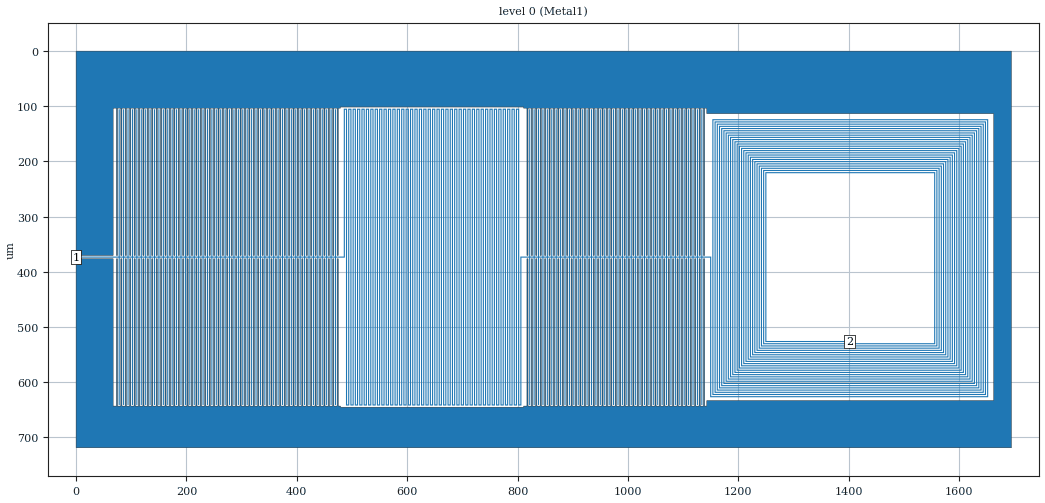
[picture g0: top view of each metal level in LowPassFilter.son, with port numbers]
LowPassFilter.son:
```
FTYP SONPROJ 19 ! Sonnet Project File
VER 18.52
HEADER
LIC aalto2.1.83234
DAT 08/23/2024 13:30:18
BUILT_BY_CREATED dxf 18.52 08/18/2024 08:11:33
BUILT_BY_SAVED sonnet 18.52
MDATE 08/23/2024 13:30:18
HDATE 08/23/2024 13:30:18
ANN Created by dxfgeo, Sonnet Software Inc.
END HEADER
DIM
ANG DEG
CAP PF
CON /OH
FREQ GHZ
IND NH
LNG UM
RES OH
END DIM
CONTROL
VARSWP
OPTIONS  -d
SPEED 1
CACHE_ABS 2
Q_ACC N
END CONTROL
GEO
TMET "Lossless" 0 SUP 0 0 0 0
BMET "Lossless" 0 SUP 0 0 0 0
BOX 1 1695 719 3390 1438 20 0
      1000 1 1 0 0 0 0 "Vacuum Block"
      525 11.9 1 0.0001 0 0 0 "Silicon Substrate"
TECHLAY METAL Metal1 <UNSPECIFIED> -2 -65534 
0 0 -1 N 274 1 1 100 100 0 0 0 Y
END
END
LORGN 0 719 U 
POR1 BOX
POLY 265 1
890
1 50 0 0 0 0 373.337348 
POR1 CUP Auto
GNDREF AUTO
TERMW FEED
POLY 265 1
263
2 50 0 0 0 1402.1 526.3 
CUPGRP "Auto" LOCAL
ID 288
END
NUM 2
0 763 -1 N 243 1 1 100 100 0 0 0 Y
TLAYNAM Metal1 INH
1695.1 0
0 0
0 370.3372453
3.709985 370.3
67.1 370.3
67.1 103.3
73.1 103.3
73.1 370.3
75.1 370.3
75.1 103.3
81.1 103.3
81.1 370.3
83.1 370.3
83.1 103.3
89.1 103.3
89.1 370.3
91.1 370.3
91.1 103.3
97.1 103.3
97.1 370.3
99.1 370.3
99.1 103.3
105.1 103.3
105.1 370.3
107.1 370.3
107.1 103.3
113.1 103.3
113.1 370.3
115.1 370.3
115.1 103.3
121.1 103.3
121.1 370.3
123.1 370.3
123.1 103.3
129.1 103.3
129.1 370.3
131.1 370.3
131.1 103.3
137.1 103.3
137.1 370.3
139.1 370.3
139.1 103.3
145.1 103.3
145.1 370.3
147.1 370.3
147.1 103.3
153.1 103.3
153.1 370.3
155.1 370.3
155.1 103.3
161.1 103.3
161.1 370.3
163.1 370.3
163.1 103.3
169.1 103.3
169.1 370.3
171.1 370.3
171.1 103.3
177.1 103.3
177.1 370.3
179.1 370.3
179.1 103.3
185.1 103.3
185.1 370.3
187.1 370.3
187.1 103.3
193.1 103.3
193.1 370.3
195.1 370.3
195.1 103.3
201.1 103.3
201.1 370.3
203.1 370.3
203.1 103.3
209.1 103.3
209.1 370.3
211.1 370.3
211.1 103.3
217.1 103.3
217.1 370.3
219.1 370.3
219.1 103.3
225.1 103.3
225.1 370.3
227.1 370.3
227.1 103.3
233.1 103.3
233.1 370.3
235.1 370.3
235.1 103.3
241.1 103.3
241.1 370.3
243.1 370.3
243.1 103.3
249.1 103.3
249.1 370.3
251.1 370.3
251.1 103.3
257.1 103.3
257.1 370.3
259.1 370.3
259.1 103.3
265.1 103.3
265.1 370.3
267.1 370.3
267.1 103.3
273.1 103.3
273.1 370.3
275.1 370.3
275.1 103.3
281.1 103.3
281.1 370.3
283.1 370.3
283.1 103.3
289.1 103.3
289.1 370.3
291.1 370.3
291.1 103.3
297.1 103.3
297.1 370.3
299.1 370.3
299.1 103.3
305.1 103.3
305.1 370.3
307.1 370.3
307.1 103.3
313.1 103.3
313.1 370.3
315.1 370.3
315.1 103.3
321.1 103.3
321.1 370.3
323.1 370.3
323.1 103.3
329.1 103.3
329.1 370.3
331.1 370.3
331.1 103.3
337.1 103.3
337.1 370.3
339.1 370.3
339.1 103.3
345.1 103.3
345.1 370.3
347.1 370.3
347.1 103.3
353.1 103.3
353.1 370.3
355.1 370.3
355.1 103.3
361.1 103.3
361.1 370.3
363.1 370.3
363.1 103.3
369.1 103.3
369.1 370.3
371.1 370.3
371.1 103.3
377.1 103.3
377.1 370.3
379.1 370.3
379.1 103.3
385.1 103.3
385.1 370.3
387.1 370.3
387.1 103.3
393.1 103.3
393.1 370.3
395.1 370.3
395.1 103.3
401.1 103.3
401.1 370.3
403.1 370.3
403.1 103.3
409.1 103.3
409.1 370.3
411.1 370.3
411.1 103.3
417.1 103.3
417.1 370.3
419.1 370.3
419.1 103.3
425.1 103.3
425.1 370.3
427.1 370.3
427.1 103.3
433.1 103.3
433.1 370.3
435.1 370.3
435.1 103.3
441.1 103.3
441.1 370.3
443.1 370.3
443.1 103.3
449.1 103.3
449.1 370.3
451.1 370.3
451.1 103.3
457.1 103.3
457.1 370.3
459.1 370.3
459.1 103.3
465.1 103.3
465.1 370.3
467.1 370.3
467.1 103.3
473.1 103.3
473.1 370.3
475.1 370.3
475.1 103.3
479.1 103.3
479.1 101.3
811.1 101.3
811.1 103.3
817.1 103.3
817.1 370.3
819.1 370.3
819.1 103.3
825.1 103.3
825.1 370.3
827.1 370.3
827.1 103.3
833.1 103.3
833.1 370.3
835.1 370.3
835.1 103.3
841.1 103.3
841.1 370.3
843.1 370.3
843.1 103.3
849.1 103.3
849.1 370.3
851.1 370.3
851.1 103.3
857.1 103.3
857.1 370.3
859.1 370.3
859.1 103.3
865.1 103.3
865.1 370.3
867.1 370.3
867.1 103.3
873.1 103.3
873.1 370.3
875.1 370.3
875.1 103.3
881.1 103.3
881.1 370.3
883.1 370.3
883.1 103.3
889.1 103.3
889.1 370.3
891.1 370.3
891.1 103.3
897.1 103.3
897.1 370.3
899.1 370.3
899.1 103.3
905.1 103.3
905.1 370.3
907.1 370.3
907.1 103.3
913.1 103.3
913.1 370.3
915.1 370.3
915.1 103.3
921.1 103.3
921.1 370.3
923.1 370.3
923.1 103.3
929.1 103.3
929.1 370.3
931.1 370.3
931.1 103.3
937.1 103.3
937.1 370.3
939.1 370.3
939.1 103.3
945.1 103.3
945.1 370.3
947.1 370.3
947.1 103.3
953.1 103.3
953.1 370.3
955.1 370.3
955.1 103.3
961.1 103.3
961.1 370.3
963.1 370.3
963.1 103.3
969.1 103.3
969.1 370.3
971.1 370.3
971.1 103.3
977.1 103.3
977.1 370.3
979.1 370.3
979.1 103.3
985.1 103.3
985.1 370.3
987.1 370.3
987.1 103.3
993.1 103.3
993.1 370.3
995.1 370.3
995.1 103.3
1001.1 103.3
1001.1 370.3
1003.1 370.3
1003.1 103.3
1009.1 103.3
1009.1 370.3
1011.1 370.3
1011.1 103.3
1017.1 103.3
1017.1 370.3
1019.1 370.3
1019.1 103.3
1025.1 103.3
1025.1 370.3
1027.1 370.3
1027.1 103.3
1033.1 103.3
1033.1 370.3
1035.1 370.3
1035.1 103.3
1041.1 103.3
1041.1 370.3
1043.1 370.3
1043.1 103.3
1049.1 103.3
1049.1 370.3
1051.1 370.3
1051.1 103.3
1057.1 103.3
1057.1 370.3
1059.1 370.3
1059.1 103.3
1065.1 103.3
1065.1 370.3
1067.1 370.3
1067.1 103.3
1073.1 103.3
1073.1 370.3
1075.1 370.3
1075.1 103.3
1081.1 103.3
1081.1 370.3
1083.1 370.3
1083.1 103.3
1089.1 103.3
1089.1 370.3
1091.1 370.3
1091.1 103.3
1097.1 103.3
1097.1 370.3
1099.1 370.3
1099.1 103.3
1105.1 103.3
1105.1 370.3
1107.1 370.3
1107.1 103.3
1113.1 103.3
1113.1 370.3
1115.1 370.3
1115.1 103.3
1121.1 103.3
1121.1 370.3
1123.1 370.3
1123.1 103.3
1129.1 103.3
1129.1 370.3
1131.1 370.3
1131.1 103.3
1137.1 103.3
1137.1 370.3
1139.1 370.3
1139.1 103.3
1143.1 103.3
1143.1 113.3
1663.1 113.3
1663.1 633.3
1143.1 633.3
1143.1 643.3
1139.1 643.3
1139.1 376.3
1137.1 376.3
1137.1 643.3
1131.1 643.3
1131.1 376.3
1129.1 376.3
1129.1 643.3
1123.1 643.3
1123.1 376.3
1121.1 376.3
1121.1 643.3
1115.1 643.3
1115.1 376.3
1113.1 376.3
1113.1 643.3
1107.1 643.3
1107.1 376.3
1105.1 376.3
1105.1 643.3
1099.1 643.3
1099.1 376.3
1097.1 376.3
1097.1 643.3
1091.1 643.3
1091.1 376.3
1089.1 376.3
1089.1 643.3
1083.1 643.3
1083.1 376.3
1081.1 376.3
1081.1 643.3
1075.1 643.3
1075.1 376.3
1073.1 376.3
1073.1 643.3
1067.1 643.3
1067.1 376.3
1065.1 376.3
1065.1 643.3
1059.1 643.3
1059.1 376.3
1057.1 376.3
1057.1 643.3
1051.1 643.3
1051.1 376.3
1049.1 376.3
1049.1 643.3
1043.1 643.3
1043.1 376.3
1041.1 376.3
1041.1 643.3
1035.1 643.3
1035.1 376.3
1033.1 376.3
1033.1 643.3
1027.1 643.3
1027.1 376.3
1025.1 376.3
1025.1 643.3
1019.1 643.3
1019.1 376.3
1017.1 376.3
1017.1 643.3
1011.1 643.3
1011.1 376.3
1009.1 376.3
1009.1 643.3
1003.1 643.3
1003.1 376.3
1001.1 376.3
1001.1 643.3
995.1 643.3
995.1 376.3
993.1 376.3
993.1 643.3
987.1 643.3
987.1 376.3
985.1 376.3
985.1 643.3
979.1 643.3
979.1 376.3
977.1 376.3
977.1 643.3
971.1 643.3
971.1 376.3
969.1 376.3
969.1 643.3
963.1 643.3
963.1 376.3
961.1 376.3
961.1 643.3
955.1 643.3
955.1 376.3
953.1 376.3
953.1 643.3
947.1 643.3
947.1 376.3
945.1 376.3
945.1 643.3
939.1 643.3
939.1 376.3
937.1 376.3
937.1 643.3
931.1 643.3
931.1 376.3
929.1 376.3
929.1 643.3
923.1 643.3
923.1 376.3
921.1 376.3
921.1 643.3
915.1 643.3
915.1 376.3
913.1 376.3
913.1 643.3
907.1 643.3
907.1 376.3
905.1 376.3
905.1 643.3
899.1 643.3
899.1 376.3
897.1 376.3
897.1 643.3
891.1 643.3
891.1 376.3
889.1 376.3
889.1 643.3
883.1 643.3
883.1 376.3
881.1 376.3
881.1 643.3
875.1 643.3
875.1 376.3
873.1 376.3
873.1 643.3
867.1 643.3
867.1 376.3
865.1 376.3
865.1 643.3
859.1 643.3
859.1 376.3
857.1 376.3
857.1 643.3
851.1 643.3
851.1 376.3
849.1 376.3
849.1 643.3
843.1 643.3
843.1 376.3
841.1 376.3
841.1 643.3
835.1 643.3
835.1 376.3
833.1 376.3
833.1 643.3
827.1 643.3
827.1 376.3
825.1 376.3
825.1 643.3
819.1 643.3
819.1 376.3
817.1 376.3
817.1 643.3
811.1 643.3
811.1 645.3
479.1 645.3
479.1 643.3
475.1 643.3
475.1 376.3
473.1 376.3
473.1 643.3
467.1 643.3
467.1 376.3
465.1 376.3
465.1 643.3
459.1 643.3
459.1 376.3
457.1 376.3
457.1 643.3
451.1 643.3
451.1 376.3
449.1 376.3
449.1 643.3
443.1 643.3
443.1 376.3
441.1 376.3
441.1 643.3
435.1 643.3
435.1 376.3
433.1 376.3
433.1 643.3
427.1 643.3
427.1 376.3
425.1 376.3
425.1 643.3
419.1 643.3
419.1 376.3
417.1 376.3
417.1 643.3
411.1 643.3
411.1 376.3
409.1 376.3
409.1 643.3
403.1 643.3
403.1 376.3
401.1 376.3
401.1 643.3
395.1 643.3
395.1 376.3
393.1 376.3
393.1 643.3
387.1 643.3
387.1 376.3
385.1 376.3
385.1 643.3
379.1 643.3
379.1 376.3
377.1 376.3
377.1 643.3
371.1 643.3
371.1 376.3
369.1 376.3
369.1 643.3
363.1 643.3
363.1 376.3
361.1 376.3
361.1 643.3
355.1 643.3
355.1 376.3
353.1 376.3
353.1 643.3
347.1 643.3
347.1 376.3
345.1 376.3
345.1 643.3
339.1 643.3
339.1 376.3
337.1 376.3
337.1 643.3
331.1 643.3
331.1 376.3
329.1 376.3
329.1 643.3
323.1 643.3
323.1 376.3
321.1 376.3
321.1 643.3
315.1 643.3
315.1 376.3
313.1 376.3
313.1 643.3
307.1 643.3
307.1 376.3
305.1 376.3
305.1 643.3
299.1 643.3
299.1 376.3
297.1 376.3
297.1 643.3
291.1 643.3
291.1 376.3
289.1 376.3
289.1 643.3
283.1 643.3
283.1 376.3
281.1 376.3
281.1 643.3
275.1 643.3
275.1 376.3
273.1 376.3
273.1 643.3
267.1 643.3
267.1 376.3
265.1 376.3
265.1 643.3
259.1 643.3
259.1 376.3
257.1 376.3
257.1 643.3
251.1 643.3
251.1 376.3
249.1 376.3
249.1 643.3
243.1 643.3
243.1 376.3
241.1 376.3
241.1 643.3
235.1 643.3
235.1 376.3
233.1 376.3
233.1 643.3
227.1 643.3
227.1 376.3
225.1 376.3
225.1 643.3
219.1 643.3
219.1 376.3
217.1 376.3
217.1 643.3
211.1 643.3
211.1 376.3
209.1 376.3
209.1 643.3
203.1 643.3
203.1 376.3
201.1 376.3
201.1 643.3
195.1 643.3
195.1 376.3
193.1 376.3
193.1 643.3
187.1 643.3
187.1 376.3
185.1 376.3
185.1 643.3
179.1 643.3
179.1 376.3
177.1 376.3
177.1 643.3
171.1 643.3
171.1 376.3
169.1 376.3
169.1 643.3
163.1 643.3
163.1 376.3
161.1 376.3
161.1 643.3
155.1 643.3
155.1 376.3
153.1 376.3
153.1 643.3
147.1 643.3
147.1 376.3
145.1 376.3
145.1 643.3
139.1 643.3
139.1 376.3
137.1 376.3
137.1 643.3
131.1 643.3
131.1 376.3
129.1 376.3
129.1 643.3
123.1 643.3
123.1 376.3
121.1 376.3
121.1 643.3
115.1 643.3
115.1 376.3
113.1 376.3
113.1 643.3
107.1 643.3
107.1 376.3
105.1 376.3
105.1 643.3
99.1 643.3
99.1 376.3
97.1 376.3
97.1 643.3
91.1 643.3
91.1 376.3
89.1 376.3
89.1 643.3
83.1 643.3
83.1 376.3
81.1 376.3
81.1 643.3
75.1 643.3
75.1 376.3
73.1 376.3
73.1 643.3
67.1 643.3
67.1 376.3
3.709985 376.3
0 376.3374473
0 718.9
1695.1 718.9
1695.1 0
END
0 1255 -1 N 265 1 1 100 100 0 0 0 Y
TLAYNAM Metal1 INH
807.1 374.3
821.1 374.3
821.1 641.3
823.1 641.3
823.1 374.3
829.1 374.3
829.1 641.3
831.1 641.3
831.1 374.3
837.1 374.3
837.1 641.3
839.1 641.3
839.1 374.3
845.1 374.3
845.1 641.3
847.1 641.3
847.1 374.3
853.1 374.3
853.1 641.3
855.1 641.3
855.1 374.3
861.1 374.3
861.1 641.3
863.1 641.3
863.1 374.3
869.1 374.3
869.1 641.3
871.1 641.3
871.1 374.3
877.1 374.3
877.1 641.3
879.1 641.3
879.1 374.3
885.1 374.3
885.1 641.3
887.1 641.3
887.1 374.3
893.1 374.3
893.1 641.3
895.1 641.3
895.1 374.3
901.1 374.3
901.1 641.3
903.1 641.3
903.1 374.3
909.1 374.3
909.1 641.3
911.1 641.3
911.1 374.3
917.1 374.3
917.1 641.3
919.1 641.3
919.1 374.3
925.1 374.3
925.1 641.3
927.1 641.3
927.1 374.3
933.1 374.3
933.1 641.3
935.1 641.3
935.1 374.3
941.1 374.3
941.1 641.3
943.1 641.3
943.1 374.3
949.1 374.3
949.1 641.3
951.1 641.3
951.1 374.3
957.1 374.3
957.1 641.3
959.1 641.3
959.1 374.3
965.1 374.3
965.1 641.3
967.1 641.3
967.1 374.3
973.1 374.3
973.1 641.3
975.1 641.3
975.1 374.3
981.1 374.3
981.1 641.3
983.1 641.3
983.1 374.3
989.1 374.3
989.1 641.3
991.1 641.3
991.1 374.3
997.1 374.3
997.1 641.3
999.1 641.3
999.1 374.3
1005.1 374.3
1005.1 641.3
1007.1 641.3
1007.1 374.3
1013.1 374.3
1013.1 641.3
1015.1 641.3
1015.1 374.3
1021.1 374.3
1021.1 641.3
1023.1 641.3
1023.1 374.3
1029.1 374.3
1029.1 641.3
1031.1 641.3
1031.1 374.3
1037.1 374.3
1037.1 641.3
1039.1 641.3
1039.1 374.3
1045.1 374.3
1045.1 641.3
1047.1 641.3
1047.1 374.3
1053.1 374.3
1053.1 641.3
1055.1 641.3
1055.1 374.3
1061.1 374.3
1061.1 641.3
1063.1 641.3
1063.1 374.3
1069.1 374.3
1069.1 641.3
1071.1 641.3
1071.1 374.3
1077.1 374.3
1077.1 641.3
1079.1 641.3
1079.1 374.3
1085.1 374.3
1085.1 641.3
1087.1 641.3
1087.1 374.3
1093.1 374.3
1093.1 641.3
1095.1 641.3
1095.1 374.3
1101.1 374.3
1101.1 641.3
1103.1 641.3
1103.1 374.3
1109.1 374.3
1109.1 641.3
1111.1 641.3
1111.1 374.3
1117.1 374.3
1117.1 641.3
1119.1 641.3
1119.1 374.3
1125.1 374.3
1125.1 641.3
1127.1 641.3
1127.1 374.3
1133.1 374.3
1133.1 641.3
1135.1 641.3
1135.1 374.3
1149.1 374.3
1149.1 627.3
1653.1 627.3
1653.1 123.3
1153.1 123.3
1153.1 623.3
1649.1 623.3
1649.1 127.3
1157.1 127.3
1157.1 619.3
1645.1 619.3
1645.1 131.3
1161.1 131.3
1161.1 615.3
1641.1 615.3
1641.1 135.3
1165.1 135.3
1165.1 611.3
1637.1 611.3
1637.1 139.3
1169.1 139.3
1169.1 607.3
1633.1 607.3
1633.1 143.3
1173.1 143.3
1173.1 603.3
1629.1 603.3
1629.1 147.3
1177.1 147.3
1177.1 599.3
1625.1 599.3
1625.1 151.3
1181.1 151.3
1181.1 595.3
1621.1 595.3
1621.1 155.3
1185.1 155.3
1185.1 591.3
1617.1 591.3
1617.1 159.3
1189.1 159.3
1189.1 587.3
1613.1 587.3
1613.1 163.3
1193.1 163.3
1193.1 583.3
1609.1 583.3
1609.1 167.3
1197.1 167.3
1197.1 579.3
1605.1 579.3
1605.1 171.3
1201.1 171.3
1201.1 575.3
1601.1 575.3
1601.1 175.3
1205.1 175.3
1205.1 571.3
1597.1 571.3
1597.1 179.3
1209.1 179.3
1209.1 567.3
1593.1 567.3
1593.1 183.3
1213.1 183.3
1213.1 563.3
1589.1 563.3
1589.1 187.3
1217.1 187.3
1217.1 559.3
1585.1 559.3
1585.1 191.3
1221.1 191.3
1221.1 555.3
1581.1 555.3
1581.1 195.3
1225.1 195.3
1225.1 551.3
1577.1 551.3
1577.1 199.3
1229.1 199.3
1229.1 547.3
1573.1 547.3
1573.1 203.3
1233.1 203.3
1233.1 543.3
1569.1 543.3
1569.1 207.3
1237.1 207.3
1237.1 539.3
1565.1 539.3
1565.1 211.3
1241.1 211.3
1241.1 535.3
1561.1 535.3
1561.1 215.3
1245.1 215.3
1245.1 531.3
1557.1 531.3
1557.1 219.3
1249.1 219.3
1249.1 527.3
1402.1 527.3
1402.1 525.3
1251.1 525.3
1251.1 221.3
1555.1 221.3
1555.1 529.3
1247.1 529.3
1247.1 217.3
1559.1 217.3
1559.1 533.3
1243.1 533.3
1243.1 213.3
1563.1 213.3
1563.1 537.3
1239.1 537.3
1239.1 209.3
1567.1 209.3
1567.1 541.3
1235.1 541.3
1235.1 205.3
1571.1 205.3
1571.1 545.3
1231.1 545.3
1231.1 201.3
1575.1 201.3
1575.1 549.3
1227.1 549.3
1227.1 197.3
1579.1 197.3
1579.1 553.3
1223.1 553.3
1223.1 193.3
1583.1 193.3
1583.1 557.3
1219.1 557.3
1219.1 189.3
1587.1 189.3
1587.1 561.3
1215.1 561.3
1215.1 185.3
1591.1 185.3
1591.1 565.3
1211.1 565.3
1211.1 181.3
1595.1 181.3
1595.1 569.3
1207.1 569.3
1207.1 177.3
1599.1 177.3
1599.1 573.3
1203.1 573.3
1203.1 173.3
1603.1 173.3
1603.1 577.3
1199.1 577.3
1199.1 169.3
1607.1 169.3
1607.1 581.3
1195.1 581.3
1195.1 165.3
1611.1 165.3
1611.1 585.3
1191.1 585.3
1191.1 161.3
1615.1 161.3
1615.1 589.3
1187.1 589.3
1187.1 157.3
1619.1 157.3
1619.1 593.3
1183.1 593.3
1183.1 153.3
1623.1 153.3
1623.1 597.3
1179.1 597.3
1179.1 149.3
1627.1 149.3
1627.1 601.3
1175.1 601.3
1175.1 145.3
1631.1 145.3
1631.1 605.3
1171.1 605.3
1171.1 141.3
1635.1 141.3
1635.1 609.3
1167.1 609.3
1167.1 137.3
1639.1 137.3
1639.1 613.3
1163.1 613.3
1163.1 133.3
1643.1 133.3
1643.1 617.3
1159.1 617.3
1159.1 129.3
1647.1 129.3
1647.1 621.3
1155.1 621.3
1155.1 125.3
1651.1 125.3
1651.1 625.3
1151.1 625.3
1151.1 372.3
1135.1 372.3
1135.1 105.3
1133.1 105.3
1133.1 372.3
1127.1 372.3
1127.1 105.3
1125.1 105.3
1125.1 372.3
1119.1 372.3
1119.1 105.3
1117.1 105.3
1117.1 372.3
1111.1 372.3
1111.1 105.3
1109.1 105.3
1109.1 372.3
1103.1 372.3
1103.1 105.3
1101.1 105.3
1101.1 372.3
1095.1 372.3
1095.1 105.3
1093.1 105.3
1093.1 372.3
1087.1 372.3
1087.1 105.3
1085.1 105.3
1085.1 372.3
1079.1 372.3
1079.1 105.3
1077.1 105.3
1077.1 372.3
1071.1 372.3
1071.1 105.3
1069.1 105.3
1069.1 372.3
1063.1 372.3
1063.1 105.3
1061.1 105.3
1061.1 372.3
1055.1 372.3
1055.1 105.3
1053.1 105.3
1053.1 372.3
1047.1 372.3
1047.1 105.3
1045.1 105.3
1045.1 372.3
1039.1 372.3
1039.1 105.3
1037.1 105.3
1037.1 372.3
1031.1 372.3
1031.1 105.3
1029.1 105.3
1029.1 372.3
1023.1 372.3
1023.1 105.3
1021.1 105.3
1021.1 372.3
1015.1 372.3
1015.1 105.3
1013.1 105.3
1013.1 372.3
1007.1 372.3
1007.1 105.3
1005.1 105.3
1005.1 372.3
999.1 372.3
999.1 105.3
997.1 105.3
997.1 372.3
991.1 372.3
991.1 105.3
989.1 105.3
989.1 372.3
983.1 372.3
983.1 105.3
981.1 105.3
981.1 372.3
975.1 372.3
975.1 105.3
973.1 105.3
973.1 372.3
967.1 372.3
967.1 105.3
965.1 105.3
965.1 372.3
959.1 372.3
959.1 105.3
957.1 105.3
957.1 372.3
951.1 372.3
951.1 105.3
949.1 105.3
949.1 372.3
943.1 372.3
943.1 105.3
941.1 105.3
941.1 372.3
935.1 372.3
935.1 105.3
933.1 105.3
933.1 372.3
927.1 372.3
927.1 105.3
925.1 105.3
925.1 372.3
919.1 372.3
919.1 105.3
917.1 105.3
917.1 372.3
911.1 372.3
911.1 105.3
909.1 105.3
909.1 372.3
903.1 372.3
903.1 105.3
901.1 105.3
901.1 372.3
895.1 372.3
895.1 105.3
893.1 105.3
893.1 372.3
887.1 372.3
887.1 105.3
885.1 105.3
885.1 372.3
879.1 372.3
879.1 105.3
877.1 105.3
877.1 372.3
871.1 372.3
871.1 105.3
869.1 105.3
869.1 372.3
863.1 372.3
863.1 105.3
861.1 105.3
861.1 372.3
855.1 372.3
855.1 105.3
853.1 105.3
853.1 372.3
847.1 372.3
847.1 105.3
845.1 105.3
845.1 372.3
839.1 372.3
839.1 105.3
837.1 105.3
837.1 372.3
831.1 372.3
831.1 105.3
829.1 105.3
829.1 372.3
823.1 372.3
823.1 105.3
821.1 105.3
821.1 372.3
805.1 372.3
805.1 640.3
803.1 640.3
803.1 104.3
797.1 104.3
797.1 640.3
795.1 640.3
795.1 104.3
789.1 104.3
789.1 640.3
787.1 640.3
787.1 104.3
781.1 104.3
781.1 640.3
779.1 640.3
779.1 104.3
773.1 104.3
773.1 640.3
771.1 640.3
771.1 104.3
765.1 104.3
765.1 640.3
763.1 640.3
763.1 104.3
757.1 104.3
757.1 640.3
755.1 640.3
755.1 104.3
749.1 104.3
749.1 640.3
747.1 640.3
747.1 104.3
741.1 104.3
741.1 640.3
739.1 640.3
739.1 104.3
733.1 104.3
733.1 640.3
731.1 640.3
731.1 104.3
725.1 104.3
725.1 640.3
723.1 640.3
723.1 104.3
717.1 104.3
717.1 640.3
715.1 640.3
715.1 104.3
709.1 104.3
709.1 640.3
707.1 640.3
707.1 104.3
701.1 104.3
701.1 640.3
699.1 640.3
699.1 104.3
693.1 104.3
693.1 640.3
691.1 640.3
691.1 104.3
685.1 104.3
685.1 640.3
683.1 640.3
683.1 104.3
677.1 104.3
677.1 640.3
675.1 640.3
675.1 104.3
669.1 104.3
669.1 640.3
667.1 640.3
667.1 104.3
661.1 104.3
661.1 640.3
659.1 640.3
659.1 104.3
653.1 104.3
653.1 640.3
651.1 640.3
651.1 104.3
645.1 104.3
645.1 640.3
643.1 640.3
643.1 104.3
637.1 104.3
637.1 640.3
635.1 640.3
635.1 104.3
629.1 104.3
629.1 640.3
627.1 640.3
627.1 104.3
621.1 104.3
621.1 640.3
619.1 640.3
619.1 104.3
613.1 104.3
613.1 640.3
611.1 640.3
611.1 104.3
605.1 104.3
605.1 640.3
603.1 640.3
603.1 104.3
597.1 104.3
597.1 640.3
595.1 640.3
595.1 104.3
589.1 104.3
589.1 640.3
587.1 640.3
587.1 104.3
581.1 104.3
581.1 640.3
579.1 640.3
579.1 104.3
573.1 104.3
573.1 640.3
571.1 640.3
571.1 104.3
565.1 104.3
565.1 640.3
563.1 640.3
563.1 104.3
557.1 104.3
557.1 640.3
555.1 640.3
555.1 104.3
549.1 104.3
549.1 640.3
547.1 640.3
547.1 104.3
541.1 104.3
541.1 640.3
539.1 640.3
539.1 104.3
533.1 104.3
533.1 640.3
531.1 640.3
531.1 104.3
525.1 104.3
525.1 640.3
523.1 640.3
523.1 104.3
517.1 104.3
517.1 640.3
515.1 640.3
515.1 104.3
509.1 104.3
509.1 640.3
507.1 640.3
507.1 104.3
501.1 104.3
501.1 640.3
499.1 640.3
499.1 104.3
493.1 104.3
493.1 640.3
491.1 640.3
491.1 104.3
485.1 104.3
485.1 372.3
471.1 372.3
471.1 105.3
469.1 105.3
469.1 372.3
463.1 372.3
463.1 105.3
461.1 105.3
461.1 372.3
455.1 372.3
455.1 105.3
453.1 105.3
453.1 372.3
447.1 372.3
447.1 105.3
445.1 105.3
445.1 372.3
439.1 372.3
439.1 105.3
437.1 105.3
437.1 372.3
431.1 372.3
431.1 105.3
429.1 105.3
429.1 372.3
423.1 372.3
423.1 105.3
421.1 105.3
421.1 372.3
415.1 372.3
415.1 105.3
413.1 105.3
413.1 372.3
407.1 372.3
407.1 105.3
405.1 105.3
405.1 372.3
399.1 372.3
399.1 105.3
397.1 105.3
397.1 372.3
391.1 372.3
391.1 105.3
389.1 105.3
389.1 372.3
383.1 372.3
383.1 105.3
381.1 105.3
381.1 372.3
375.1 372.3
375.1 105.3
373.1 105.3
373.1 372.3
367.1 372.3
367.1 105.3
365.1 105.3
365.1 372.3
359.1 372.3
359.1 105.3
357.1 105.3
357.1 372.3
351.1 372.3
351.1 105.3
349.1 105.3
349.1 372.3
343.1 372.3
343.1 105.3
341.1 105.3
341.1 372.3
335.1 372.3
335.1 105.3
333.1 105.3
333.1 372.3
327.1 372.3
327.1 105.3
325.1 105.3
325.1 372.3
319.1 372.3
319.1 105.3
317.1 105.3
317.1 372.3
311.1 372.3
311.1 105.3
309.1 105.3
309.1 372.3
303.1 372.3
303.1 105.3
301.1 105.3
301.1 372.3
295.1 372.3
295.1 105.3
293.1 105.3
293.1 372.3
287.1 372.3
287.1 105.3
285.1 105.3
285.1 372.3
279.1 372.3
279.1 105.3
277.1 105.3
277.1 372.3
271.1 372.3
271.1 105.3
269.1 105.3
269.1 372.3
263.1 372.3
263.1 105.3
261.1 105.3
261.1 372.3
255.1 372.3
255.1 105.3
253.1 105.3
253.1 372.3
247.1 372.3
247.1 105.3
245.1 105.3
245.1 372.3
239.1 372.3
239.1 105.3
237.1 105.3
237.1 372.3
231.1 372.3
231.1 105.3
229.1 105.3
229.1 372.3
223.1 372.3
223.1 105.3
221.1 105.3
221.1 372.3
215.1 372.3
215.1 105.3
213.1 105.3
213.1 372.3
207.1 372.3
207.1 105.3
205.1 105.3
205.1 372.3
199.1 372.3
199.1 105.3
197.1 105.3
197.1 372.3
191.1 372.3
191.1 105.3
189.1 105.3
189.1 372.3
183.1 372.3
183.1 105.3
181.1 105.3
181.1 372.3
175.1 372.3
175.1 105.3
173.1 105.3
173.1 372.3
167.1 372.3
167.1 105.3
165.1 105.3
165.1 372.3
159.1 372.3
159.1 105.3
157.1 105.3
157.1 372.3
151.1 372.3
151.1 105.3
149.1 105.3
149.1 372.3
143.1 372.3
143.1 105.3
141.1 105.3
141.1 372.3
135.1 372.3
135.1 105.3
133.1 105.3
133.1 372.3
127.1 372.3
127.1 105.3
125.1 105.3
125.1 372.3
119.1 372.3
119.1 105.3
117.1 105.3
117.1 372.3
111.1 372.3
111.1 105.3
109.1 105.3
109.1 372.3
103.1 372.3
103.1 105.3
101.1 105.3
101.1 372.3
95.1 372.3
95.1 105.3
93.1 105.3
93.1 372.3
87.1 372.3
87.1 105.3
85.1 105.3
85.1 372.3
79.1 372.3
79.1 105.3
77.1 105.3
77.1 372.3
3.709985 372.3
0 372.3376229
0 374.3370731
3.709985 374.3
77.1 374.3
77.1 641.3
79.1 641.3
79.1 374.3
85.1 374.3
85.1 641.3
87.1 641.3
87.1 374.3
93.1 374.3
93.1 641.3
95.1 641.3
95.1 374.3
101.1 374.3
101.1 641.3
103.1 641.3
103.1 374.3
109.1 374.3
109.1 641.3
111.1 641.3
111.1 374.3
117.1 374.3
117.1 641.3
119.1 641.3
119.1 374.3
125.1 374.3
125.1 641.3
127.1 641.3
127.1 374.3
133.1 374.3
133.1 641.3
135.1 641.3
135.1 374.3
141.1 374.3
141.1 641.3
143.1 641.3
143.1 374.3
149.1 374.3
149.1 641.3
151.1 641.3
151.1 374.3
157.1 374.3
157.1 641.3
159.1 641.3
159.1 374.3
165.1 374.3
165.1 641.3
167.1 641.3
167.1 374.3
173.1 374.3
173.1 641.3
175.1 641.3
175.1 374.3
181.1 374.3
181.1 641.3
183.1 641.3
183.1 374.3
189.1 374.3
189.1 641.3
191.1 641.3
191.1 374.3
197.1 374.3
197.1 641.3
199.1 641.3
199.1 374.3
205.1 374.3
205.1 641.3
207.1 641.3
207.1 374.3
213.1 374.3
213.1 641.3
215.1 641.3
215.1 374.3
221.1 374.3
221.1 641.3
223.1 641.3
223.1 374.3
229.1 374.3
229.1 641.3
231.1 641.3
231.1 374.3
237.1 374.3
237.1 641.3
239.1 641.3
239.1 374.3
245.1 374.3
245.1 641.3
247.1 641.3
247.1 374.3
253.1 374.3
253.1 641.3
255.1 641.3
255.1 374.3
261.1 374.3
261.1 641.3
263.1 641.3
263.1 374.3
269.1 374.3
269.1 641.3
271.1 641.3
271.1 374.3
277.1 374.3
277.1 641.3
279.1 641.3
279.1 374.3
285.1 374.3
285.1 641.3
287.1 641.3
287.1 374.3
293.1 374.3
293.1 641.3
295.1 641.3
295.1 374.3
301.1 374.3
301.1 641.3
303.1 641.3
303.1 374.3
309.1 374.3
309.1 641.3
311.1 641.3
311.1 374.3
317.1 374.3
317.1 641.3
319.1 641.3
319.1 374.3
325.1 374.3
325.1 641.3
327.1 641.3
327.1 374.3
333.1 374.3
333.1 641.3
335.1 641.3
335.1 374.3
341.1 374.3
341.1 641.3
343.1 641.3
343.1 374.3
349.1 374.3
349.1 641.3
351.1 641.3
351.1 374.3
357.1 374.3
357.1 641.3
359.1 641.3
359.1 374.3
365.1 374.3
365.1 641.3
367.1 641.3
367.1 374.3
373.1 374.3
373.1 641.3
375.1 641.3
375.1 374.3
381.1 374.3
381.1 641.3
383.1 641.3
383.1 374.3
389.1 374.3
389.1 641.3
391.1 641.3
391.1 374.3
397.1 374.3
397.1 641.3
399.1 641.3
399.1 374.3
405.1 374.3
405.1 641.3
407.1 641.3
407.1 374.3
413.1 374.3
413.1 641.3
415.1 641.3
415.1 374.3
421.1 374.3
421.1 641.3
423.1 641.3
423.1 374.3
429.1 374.3
429.1 641.3
431.1 641.3
431.1 374.3
437.1 374.3
437.1 641.3
439.1 641.3
439.1 374.3
445.1 374.3
445.1 641.3
447.1 641.3
447.1 374.3
453.1 374.3
453.1 641.3
455.1 641.3
455.1 374.3
461.1 374.3
461.1 641.3
463.1 641.3
463.1 374.3
469.1 374.3
469.1 641.3
471.1 641.3
471.1 374.3
487.1 374.3
487.1 106.3
489.1 106.3
489.1 642.3
495.1 642.3
495.1 106.3
497.1 106.3
497.1 642.3
503.1 642.3
503.1 106.3
505.1 106.3
505.1 642.3
511.1 642.3
511.1 106.3
513.1 106.3
513.1 642.3
519.1 642.3
519.1 106.3
521.1 106.3
521.1 642.3
527.1 642.3
527.1 106.3
529.1 106.3
529.1 642.3
535.1 642.3
535.1 106.3
537.1 106.3
537.1 642.3
543.1 642.3
543.1 106.3
545.1 106.3
545.1 642.3
551.1 642.3
551.1 106.3
553.1 106.3
553.1 642.3
559.1 642.3
559.1 106.3
561.1 106.3
561.1 642.3
567.1 642.3
567.1 106.3
569.1 106.3
569.1 642.3
575.1 642.3
575.1 106.3
577.1 106.3
577.1 642.3
583.1 642.3
583.1 106.3
585.1 106.3
585.1 642.3
591.1 642.3
591.1 106.3
593.1 106.3
593.1 642.3
599.1 642.3
599.1 106.3
601.1 106.3
601.1 642.3
607.1 642.3
607.1 106.3
609.1 106.3
609.1 642.3
615.1 642.3
615.1 106.3
617.1 106.3
617.1 642.3
623.1 642.3
623.1 106.3
625.1 106.3
625.1 642.3
631.1 642.3
631.1 106.3
633.1 106.3
633.1 642.3
639.1 642.3
639.1 106.3
641.1 106.3
641.1 642.3
647.1 642.3
647.1 106.3
649.1 106.3
649.1 642.3
655.1 642.3
655.1 106.3
657.1 106.3
657.1 642.3
663.1 642.3
663.1 106.3
665.1 106.3
665.1 642.3
671.1 642.3
671.1 106.3
673.1 106.3
673.1 642.3
679.1 642.3
679.1 106.3
681.1 106.3
681.1 642.3
687.1 642.3
687.1 106.3
689.1 106.3
689.1 642.3
695.1 642.3
695.1 106.3
697.1 106.3
697.1 642.3
703.1 642.3
703.1 106.3
705.1 106.3
705.1 642.3
711.1 642.3
711.1 106.3
713.1 106.3
713.1 642.3
719.1 642.3
719.1 106.3
721.1 106.3
721.1 642.3
727.1 642.3
727.1 106.3
729.1 106.3
729.1 642.3
735.1 642.3
735.1 106.3
737.1 106.3
737.1 642.3
743.1 642.3
743.1 106.3
745.1 106.3
745.1 642.3
751.1 642.3
751.1 106.3
753.1 106.3
753.1 642.3
759.1 642.3
759.1 106.3
761.1 106.3
761.1 642.3
767.1 642.3
767.1 106.3
769.1 106.3
769.1 642.3
775.1 642.3
775.1 106.3
777.1 106.3
777.1 642.3
783.1 642.3
783.1 106.3
785.1 106.3
785.1 642.3
791.1 642.3
791.1 106.3
793.1 106.3
793.1 642.3
799.1 642.3
799.1 106.3
801.1 106.3
801.1 642.3
807.1 642.3
807.1 374.3
END
END GEO
OPT
MAX 100
END OPT
VARSWP
ENABLED Y
FREQ Y AN ESWEEP 0.001 25.0 50
END
END VARSWP
```
